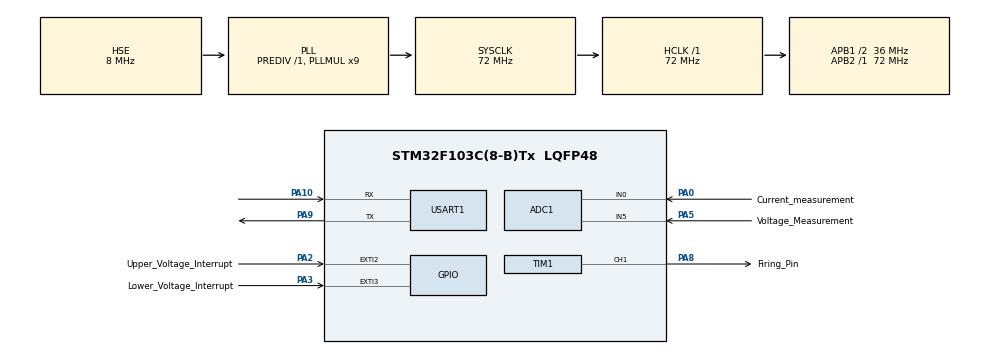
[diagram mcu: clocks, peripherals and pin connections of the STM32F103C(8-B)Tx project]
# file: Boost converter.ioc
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ADC1.Channel-0\#ChannelRegularConversion=ADC_CHANNEL_0
ADC1.NbrOfConversionFlag=1
ADC1.Rank-0\#ChannelRegularConversion=1
ADC1.SamplingTime-0\#ChannelRegularConversion=ADC_SAMPLETIME_1CYCLE_5
ADC1.master=1
Mcu.Family=STM32F1
Mcu.Name=STM32F103C(8-B)Tx
Mcu.Package=LQFP48
NVIC.EXTI2_IRQn=true\:0\:0\:false\:false\:true\:true\:true\:true
NVIC.EXTI3_IRQn=true\:0\:0\:false\:false\:true\:true\:true\:true
NVIC.PriorityGroup=NVIC_PRIORITYGROUP_4
PA0-WKUP.GPIO_Label=Current_measurement
PA0-WKUP.Signal=ADCx_IN0
PA10.Mode=Asynchronous
PA10.Signal=USART1_RX
PA13.Mode=Serial_Wire
PA13.Signal=SYS_JTMS-SWDIO
PA14.Mode=Serial_Wire
PA14.Signal=SYS_JTCK-SWCLK
PA2.GPIO_Label=Upper_Voltage_Interrupt
PA2.GPIO_PuPd=GPIO_PULLDOWN
PA2.Signal=GPXTI2
PA3.GPIO_Label=Lower_Voltage_Interrupt
PA3.GPIO_ModeDefaultEXTI=GPIO_MODE_IT_FALLING
PA3.GPIO_PuPd=GPIO_PULLUP
PA3.Signal=GPXTI3
PA5.GPIO_Label=Voltage_Measurement
PA5.Signal=ADCx_IN5
PA8.GPIO_Label=Firing_Pin
PA8.Signal=S_TIM1_CH1
PA9.Mode=Asynchronous
PA9.Signal=USART1_TX
PD0-OSC_IN.Mode=HSE-External-Oscillator
PD0-OSC_IN.Signal=RCC_OSC_IN
PD1-OSC_OUT.Mode=HSE-External-Oscillator
PD1-OSC_OUT.Signal=RCC_OSC_OUT
ProjectManager.HeapSize=0x200
ProjectManager.StackSize=0x400
ProjectManager.TargetToolchain=MDK-ARM V5.32
RCC.ADCPresc=RCC_ADCPCLK2_DIV6
RCC.AHBFreq_Value=72000000
RCC.APB1CLKDivider=RCC_HCLK_DIV2
RCC.APB1Freq_Value=36000000
RCC.APB1TimFreq_Value=72000000
RCC.APB2Freq_Value=72000000
RCC.APB2TimFreq_Value=72000000
RCC.HCLKFreq_Value=72000000
RCC.PLLMUL=RCC_PLL_MUL9
RCC.PLLSourceVirtual=RCC_PLLSOURCE_HSE
RCC.SYSCLKFreq_VALUE=72000000
RCC.SYSCLKSource=RCC_SYSCLKSOURCE_PLLCLK
RCC.USBFreq_Value=72000000
SH.ADCx_IN0.0=ADC1_IN0,IN0
SH.ADCx_IN5.0=ADC1_IN5,IN5
SH.S_TIM1_CH1.0=TIM1_CH1,PWM Generation1 CH1
TIM1.AutoReloadPreload=TIM_AUTORELOAD_PRELOAD_ENABLE
TIM1.Channel-PWM\ Generation1\ CH1=TIM_CHANNEL_1
TIM1.Period=2400
TIM1.Prescaler=0
USART1.VirtualMode=VM_ASYNC
VP_TIM1_VS_ClockSourceINT.Mode=Internal
board=custom

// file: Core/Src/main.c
/* USER CODE BEGIN Header */
/**
  ******************************************************************************
  * @file           : main.c
  * @brief          : Main program body
  ******************************************************************************
  * @attention
  *
  * Copyright (c) 2023 STMicroelectronics.
  * All rights reserved.
  *
  * This software is licensed under terms that can be found in the LICENSE file
  * in the root directory of this software component.
  * If no LICENSE file comes with this software, it is provided AS-IS.
  *
  ******************************************************************************
  */
/* USER CODE END Header */
#include "main.h"
#include "adc.h"
#include "tim.h"
#include "usart.h"
#include "gpio.h"

/* USER CODE BEGIN PV */
	int interrupt_state_flag = 0;
	int main_CRR_value = 1919;
	float duty_cycle_percentage = 0.0;
/* USER CODE END PV */

void SystemClock_Config(void);
/* USER CODE BEGIN PFP */
void brightup_function(void);
void brightdown_function(void);
/* USER CODE END PFP */

int main(void)
{

  /* MCU Configuration--------------------------------------------------------*/

  /* Reset of all peripherals, Initializes the Flash interface and the Systick. */
  HAL_Init();

  /* Configure the system clock */
  SystemClock_Config();

  /* Initialize all configured peripherals */
  MX_GPIO_Init();
  MX_TIM1_Init();
  MX_ADC1_Init();
  MX_USART1_UART_Init();
  /* USER CODE BEGIN 2 */
	duty_cycle_percentage = HAL_TIM_SET_DUTY(10);
	HAL_TIM_PWM_Start(&htim1, TIM_CHANNEL_1);
  /* USER CODE END 2 */

  /* Infinite loop */
  while (1)
  {
			//brightdown_function();
		if (interrupt_state_flag == 1){
			brightdown_function();
			interrupt_state_flag = 0;
		}

		else if (interrupt_state_flag == 2){
			brightup_function();
			interrupt_state_flag = 0;
		}
  }
}

void SystemClock_Config(void)
{
  RCC_OscInitTypeDef RCC_OscInitStruct = {0};
  RCC_ClkInitTypeDef RCC_ClkInitStruct = {0};
  RCC_PeriphCLKInitTypeDef PeriphClkInit = {0};

  /** Initializes the RCC Oscillators according to the specified parameters
  * in the RCC_OscInitTypeDef structure.
  */
  RCC_OscInitStruct.OscillatorType = RCC_OSCILLATORTYPE_HSE;
  RCC_OscInitStruct.HSEState = RCC_HSE_ON;
  RCC_OscInitStruct.HSEPredivValue = RCC_HSE_PREDIV_DIV1;
  RCC_OscInitStruct.HSIState = RCC_HSI_ON;
  RCC_OscInitStruct.PLL.PLLState = RCC_PLL_ON;
  RCC_OscInitStruct.PLL.PLLSource = RCC_PLLSOURCE_HSE;
  RCC_OscInitStruct.PLL.PLLMUL = RCC_PLL_MUL9;
  if (HAL_RCC_OscConfig(&RCC_OscInitStruct) != HAL_OK)
  {
    Error_Handler();
  }

  /** Initializes the CPU, AHB and APB buses clocks
  */
  RCC_ClkInitStruct.ClockType = RCC_CLOCKTYPE_HCLK|RCC_CLOCKTYPE_SYSCLK
                              |RCC_CLOCKTYPE_PCLK1|RCC_CLOCKTYPE_PCLK2;
  RCC_ClkInitStruct.SYSCLKSource = RCC_SYSCLKSOURCE_PLLCLK;
  RCC_ClkInitStruct.AHBCLKDivider = RCC_SYSCLK_DIV1;
  RCC_ClkInitStruct.APB1CLKDivider = RCC_HCLK_DIV2;
  RCC_ClkInitStruct.APB2CLKDivider = RCC_HCLK_DIV1;

  if (HAL_RCC_ClockConfig(&RCC_ClkInitStruct, FLASH_LATENCY_2) != HAL_OK)
  {
    Error_Handler();
  }
  PeriphClkInit.PeriphClockSelection = RCC_PERIPHCLK_ADC;
  PeriphClkInit.AdcClockSelection = RCC_ADCPCLK2_DIV6;
  if (HAL_RCCEx_PeriphCLKConfig(&PeriphClkInit) != HAL_OK)
  {
    Error_Handler();
  }
}

/* USER CODE BEGIN 4 */
void HAL_GPIO_EXTI_Callback(uint16_t GPIO_Pin){
	if (GPIO_Pin == Upper_Voltage_Interrupt_Pin){
		//call bright up function
		interrupt_state_flag = 1;
	}
	else if (GPIO_Pin == Lower_Voltage_Interrupt_Pin){
		interrupt_state_flag = 2;
	}

}

void brightup_function(void){
	for(int i = 0; i<main_CRR_value; i+=20){
		//interrupt_state_flag = 1;
		duty_cycle_percentage = HAL_TIM_SET_DUTY(i);
		HAL_Delay(1);

		}
	interrupt_state_flag = 0;
}
void brightdown_function(){
	for(int i = main_CRR_value; i>0; i-=20){
				duty_cycle_percentage = HAL_TIM_SET_DUTY(i);
				HAL_Delay(1);
				interrupt_state_flag = 2;
		}
}
/* USER CODE END 4 */

void Error_Handler(void)
{
  __disable_irq();
  while (1)
  {
  }
}
